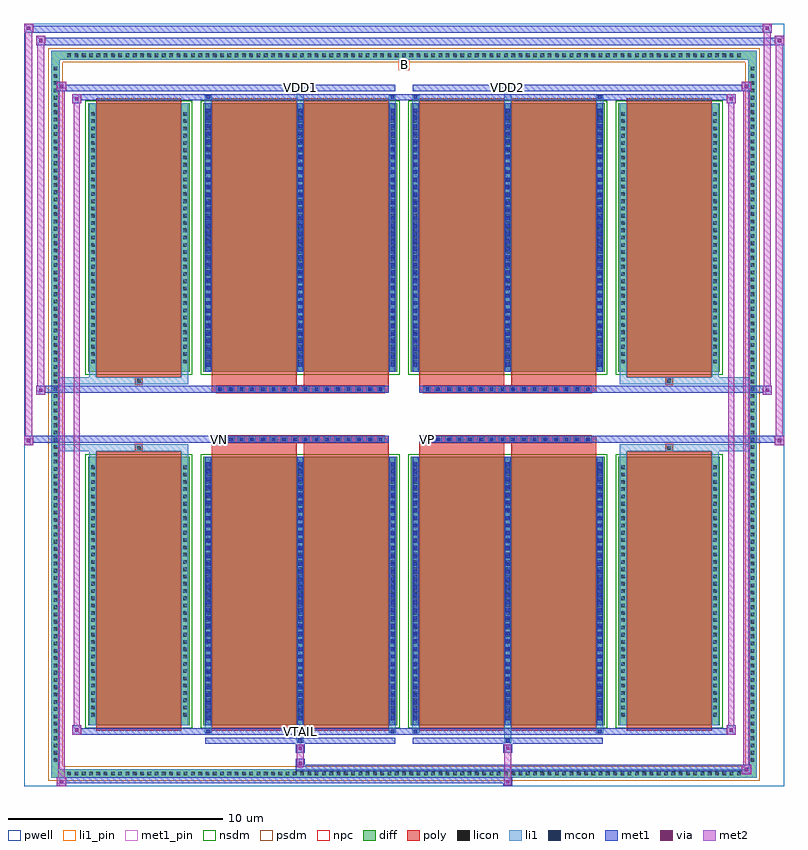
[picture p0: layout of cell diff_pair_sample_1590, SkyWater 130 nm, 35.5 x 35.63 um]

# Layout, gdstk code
import gdstk
lib = gdstk.Library(unit=1e-6, precision=5e-09)
def R(c, l, rs):  # rectangles x0, y0, x1, y1
    for r in rs: c.add(gdstk.rectangle(r[:2], r[2:], *l))
def A(c, l, x, y, w, h, nx, ny, dx, dy):  # array of equal rectangles
    R(c, l, [(x+i*dx, y+j*dy, x+i*dx+w, y+j*dy+h) for i in range(nx) for j in range(ny)])
def P(c, l, *ps):  # polygons
    for p in ps: c.add(gdstk.Polygon(p, *l))
pwell = (64, 44)
diff = (65, 20)
poly = (66, 20)
licon = (66, 44)
li1_pin = (67, 16)
li1 = (67, 20)
mcon = (67, 44)
met1_pin = (68, 16)
met1 = (68, 20)
via = (68, 44)
met2 = (69, 20)
nsdm = (93, 44)
psdm = (94, 20)
npc = (95, 20)

diff_pair_sample_1590 = lib.new_cell('diff_pair_sample_1590')
R(diff_pair_sample_1590, pwell, [(-17.75,-17.38,17.75,18.25), (-15.07,-15.57,-0.01,-0.805), (0.01,-15.57,15.07,-0.805), (-15.07,0.805,-0.01,15.57), (0.01,0.805,15.07,15.57)])
A(diff_pair_sample_1590, diff, -15.845, -16.98, 0.41, 0.41, 93, 2, 0.34, 33.55)
A(diff_pair_sample_1590, diff, -16.48, -16.355, 0.41, 0.41, 1, 96, 0, 0.34)
A(diff_pair_sample_1590, diff, 16.07, -16.355, 0.41, 0.41, 1, 96, 0, 0.34)
R(diff_pair_sample_1590, diff, [(-15.845,-16.98,15.845,-16.57), (-16.48,-16.355,-16.07,16.355), (16.07,-16.355,16.48,16.355), (-14.76,-14.525,-10.01,-1.985), (-9.37,-14.525,-0.32,-1.985), (0.32,-14.525,9.37,-1.985), (10.01,-14.525,14.76,-1.985), (-14.76,1.985,-10.01,14.525), (-9.37,1.985,-0.32,14.525), (0.32,1.985,9.37,14.525), (10.01,1.985,14.76,14.525), (-15.845,16.57,15.845,16.98)])
P(diff_pair_sample_1590, diff, [(16.48,16.98),(-16.48,16.98),(-16.48,-16.57),(-16.07,-16.57),(-16.07,16.57),(16.07,16.57),(16.07,-16.57),(-16.07,-16.57),(-16.48,-16.57),(-16.48,-16.98),(16.48,-16.98)])
A(diff_pair_sample_1590, poly, -8.76, -1.335, 0.33, 0.33, 16, 2, 0.5, 2.34)
A(diff_pair_sample_1590, poly, 0.93, -1.335, 0.33, 0.33, 16, 2, 0.5, 2.34)
R(diff_pair_sample_1590, poly, [(-14.37,-14.775,-10.4,-1.735), (-8.98,-14.775,-5.01,-1.735), (-4.68,-14.775,-0.71,-1.735), (0.71,-14.775,4.68,-1.735), (5.01,-14.775,8.98,-1.735), (10.4,-14.775,14.37,-1.735), (-12.55,-1.735,-12.22,-1.405), (-12.55,-1.735,-12.22,-1.405), (-8.98,-1.735,-5.01,-1.335), (-4.68,-1.735,-0.71,-1.335), (0.71,-1.735,4.68,-1.335), (5.01,-1.735,8.98,-1.335), (12.22,-1.735,12.55,-1.405), (12.22,-1.735,12.55,-1.405), (-8.98,-1.335,-0.71,-1.005), (0.71,-1.335,8.98,-1.005), (-8.98,1.005,-0.71,1.335), (0.71,1.005,8.98,1.335), (-8.98,1.335,-5.01,1.735), (-4.68,1.335,-0.71,1.735), (0.71,1.335,4.68,1.735), (5.01,1.335,8.98,1.735), (-12.55,1.405,-12.22,1.735), (-12.55,1.405,-12.22,1.735), (12.22,1.405,12.55,1.735), (12.22,1.405,12.55,1.735), (-14.37,1.735,-10.4,14.775), (-8.98,1.735,-5.01,14.775), (-4.68,1.735,-0.71,14.775), (0.71,1.735,4.68,14.775), (5.01,1.735,8.98,14.775), (10.4,1.735,14.37,14.775)])
A(diff_pair_sample_1590, licon, -15.725, -16.86, 0.17, 0.17, 93, 2, 0.34, 33.55)
A(diff_pair_sample_1590, licon, -16.36, -16.235, 0.17, 0.17, 1, 96, 0, 0.34)
A(diff_pair_sample_1590, licon, 16.19, -16.235, 0.17, 0.17, 1, 96, 0, 0.34)
A(diff_pair_sample_1590, licon, -14.62, -14.12, 0.17, 0.17, 1, 35, 0, 0.34)
A(diff_pair_sample_1590, licon, -10.32, -14.12, 0.17, 0.17, 1, 35, 0, 0.34)
A(diff_pair_sample_1590, licon, -9.23, -14.12, 0.17, 0.17, 3, 35, 4.3, 0.34)
A(diff_pair_sample_1590, licon, 0.46, -14.12, 0.17, 0.17, 3, 35, 4.3, 0.34)
A(diff_pair_sample_1590, licon, 10.15, -14.12, 0.17, 0.17, 1, 35, 0, 0.34)
A(diff_pair_sample_1590, licon, 14.45, -14.12, 0.17, 0.17, 1, 35, 0, 0.34)
A(diff_pair_sample_1590, licon, -8.68, -1.255, 0.17, 0.17, 16, 2, 0.5, 2.34)
A(diff_pair_sample_1590, licon, 1.01, -1.255, 0.17, 0.17, 16, 2, 0.5, 2.34)
A(diff_pair_sample_1590, licon, -14.62, 2.39, 0.17, 0.17, 1, 35, 0, 0.34)
A(diff_pair_sample_1590, licon, -10.32, 2.39, 0.17, 0.17, 1, 35, 0, 0.34)
A(diff_pair_sample_1590, licon, -9.23, 2.39, 0.17, 0.17, 3, 35, 4.3, 0.34)
A(diff_pair_sample_1590, licon, 0.46, 2.39, 0.17, 0.17, 3, 35, 4.3, 0.34)
A(diff_pair_sample_1590, licon, 10.15, 2.39, 0.17, 0.17, 1, 35, 0, 0.34)
A(diff_pair_sample_1590, licon, 14.45, 2.39, 0.17, 0.17, 1, 35, 0, 0.34)
R(diff_pair_sample_1590, licon, [(-12.47,-1.655,-12.3,-1.485), (12.3,-1.655,12.47,-1.485), (-12.47,1.485,-12.3,1.655), (12.3,1.485,12.47,1.655)])
R(diff_pair_sample_1590, li1_pin, [(-0.25,16.07,0.25,16.57)])
A(diff_pair_sample_1590, li1, -15.805, -16.94, 0.33, 0.33, 93, 2, 0.34, 33.55)
A(diff_pair_sample_1590, li1, -16.44, -16.315, 0.33, 0.33, 1, 96, 0, 0.34)
A(diff_pair_sample_1590, li1, 16.11, -16.315, 0.33, 0.33, 1, 96, 0, 0.34)
A(diff_pair_sample_1590, li1, -9.31, -14.525, 0.33, 12.54, 3, 2, 4.3, 16.51)
A(diff_pair_sample_1590, li1, 0.38, -14.525, 0.33, 12.54, 3, 2, 4.3, 16.51)
A(diff_pair_sample_1590, li1, -9.23, -14.28, 0.17, 0.17, 3, 34, 4.3, 0.36)
A(diff_pair_sample_1590, li1, -9.23, -14.28, 0.17, 12.05, 3, 2, 4.3, 16.51)
A(diff_pair_sample_1590, li1, 0.46, -14.28, 0.17, 0.17, 3, 34, 4.3, 0.36)
A(diff_pair_sample_1590, li1, 0.46, -14.28, 0.17, 12.05, 3, 2, 4.3, 16.51)
A(diff_pair_sample_1590, li1, -14.7, -14.2, 0.33, 0.33, 1, 35, 0, 0.34)
A(diff_pair_sample_1590, li1, -10.4, -14.2, 0.33, 0.33, 1, 35, 0, 0.34)
A(diff_pair_sample_1590, li1, -9.31, -14.2, 0.33, 0.33, 3, 35, 4.3, 0.34)
A(diff_pair_sample_1590, li1, 0.38, -14.2, 0.33, 0.33, 3, 35, 4.3, 0.34)
A(diff_pair_sample_1590, li1, 10.07, -14.2, 0.33, 0.33, 1, 35, 0, 0.34)
A(diff_pair_sample_1590, li1, 14.37, -14.2, 0.33, 0.33, 1, 35, 0, 0.34)
A(diff_pair_sample_1590, li1, -8.76, -1.335, 0.33, 0.33, 16, 2, 0.5, 2.34)
A(diff_pair_sample_1590, li1, 0.93, -1.335, 0.33, 0.33, 16, 2, 0.5, 2.34)
A(diff_pair_sample_1590, li1, -9.23, 2.23, 0.17, 0.17, 3, 34, 4.3, 0.36)
A(diff_pair_sample_1590, li1, 0.46, 2.23, 0.17, 0.17, 3, 34, 4.3, 0.36)
A(diff_pair_sample_1590, li1, -14.7, 2.31, 0.33, 0.33, 1, 35, 0, 0.34)
A(diff_pair_sample_1590, li1, -10.4, 2.31, 0.33, 0.33, 1, 35, 0, 0.34)
A(diff_pair_sample_1590, li1, -9.31, 2.31, 0.33, 0.33, 3, 35, 4.3, 0.34)
A(diff_pair_sample_1590, li1, 0.38, 2.31, 0.33, 0.33, 3, 35, 4.3, 0.34)
A(diff_pair_sample_1590, li1, 10.07, 2.31, 0.33, 0.33, 1, 35, 0, 0.34)
A(diff_pair_sample_1590, li1, 14.37, 2.31, 0.33, 0.33, 1, 35, 0, 0.34)
R(diff_pair_sample_1590, li1, [(-16.48,-16.98,-16.07,-16.57), (-16.48,-16.98,-16.07,-16.57), (-16.07,-16.98,16.07,-16.57), (16.07,-16.98,16.48,-16.57), (16.07,-16.98,16.48,-16.57), (-16.48,-16.57,-16.07,16.57), (16.07,-16.57,16.48,16.57), (-5.01,-15.33,-4.68,-14.525), (-4.93,-15.33,-4.76,-15.16), (4.68,-15.33,5.01,-14.525), (4.76,-15.33,4.93,-15.16), (-9.31,-14.9,-8.98,-14.525), (-9.23,-14.9,-9.06,-14.73), (-0.71,-14.9,-0.38,-14.525), (-0.63,-14.9,-0.46,-14.73), (0.38,-14.9,0.71,-14.525), (0.46,-14.9,0.63,-14.73), (8.98,-14.9,9.31,-14.525), (9.06,-14.9,9.23,-14.73), (-14.7,-14.525,-14.37,-1.985), (-10.4,-14.525,-10.07,-1.985), (10.07,-14.525,10.4,-1.985), (14.37,-14.525,14.7,-1.985), (-14.7,-1.985,-14.37,-1.405), (-10.4,-1.985,-10.07,-1.405), (10.07,-1.985,10.4,-1.405), (14.37,-1.985,14.7,-1.405), (-16.48,-1.735,-12.55,-1.405), (-14.7,-1.735,-12.55,-1.405), (-12.55,-1.735,-12.22,-1.405), (-12.22,-1.735,-10.07,-1.405), (10.07,-1.735,12.22,-1.405), (12.22,-1.735,12.55,-1.405), (12.22,-1.735,16.48,-1.405), (12.55,-1.735,14.7,-1.405), (-16.48,1.405,-12.55,1.735), (-14.7,1.405,-12.55,1.735), (-14.7,1.405,-14.37,1.985), (-12.55,1.405,-12.22,1.735), (-12.22,1.405,-10.07,1.735), (-10.4,1.405,-10.07,1.985), (10.07,1.405,12.22,1.735), (10.07,1.405,10.4,1.985), (12.22,1.405,12.55,1.735), (12.22,1.405,16.48,1.735), (12.55,1.405,14.7,1.735), (14.37,1.405,14.7,1.985), (-14.7,1.985,-14.37,14.525), (-10.4,1.985,-10.07,14.525), (10.07,1.985,10.4,14.525), (14.37,1.985,14.7,14.525), (-9.31,14.525,-8.98,14.9), (-5.01,14.525,-4.68,15.33), (-0.71,14.525,-0.38,14.9), (0.38,14.525,0.71,14.9), (4.68,14.525,5.01,15.33), (8.98,14.525,9.31,14.9), (-9.23,14.73,-9.06,14.9), (-0.63,14.73,-0.46,14.9), (0.46,14.73,0.63,14.9), (9.06,14.73,9.23,14.9), (-4.93,15.16,-4.76,15.33), (4.76,15.16,4.93,15.33), (-16.48,16.57,-16.07,16.98), (-16.48,16.57,-16.07,16.98), (-16.07,16.57,16.07,16.98), (16.07,16.57,16.48,16.98), (16.07,16.57,16.48,16.98)])
A(diff_pair_sample_1590, mcon, -9.23, -14.28, 0.17, 0.17, 3, 34, 4.3, 0.36)
A(diff_pair_sample_1590, mcon, 0.46, -14.28, 0.17, 0.17, 3, 34, 4.3, 0.36)
A(diff_pair_sample_1590, mcon, -8.68, -1.255, 0.17, 0.17, 16, 2, 0.5, 2.34)
A(diff_pair_sample_1590, mcon, 1.01, -1.255, 0.17, 0.17, 16, 2, 0.5, 2.34)
A(diff_pair_sample_1590, mcon, -9.23, 2.23, 0.17, 0.17, 3, 34, 4.3, 0.36)
A(diff_pair_sample_1590, mcon, 0.46, 2.23, 0.17, 0.17, 3, 34, 4.3, 0.36)
R(diff_pair_sample_1590, mcon, [(-4.93,-15.33,-4.76,-15.16), (4.76,-15.33,4.93,-15.16), (-9.23,-14.9,-9.06,-14.73), (-0.63,-14.9,-0.46,-14.73), (0.46,-14.9,0.63,-14.73), (9.06,-14.9,9.23,-14.73), (-9.23,14.73,-9.06,14.9), (-0.63,14.73,-0.46,14.9), (0.46,14.73,0.63,14.9), (9.06,14.73,9.23,14.9), (-4.93,15.16,-4.76,15.33), (4.76,15.16,4.93,15.33)])
R(diff_pair_sample_1590, met1_pin, [(-4.98,-14.94,-4.71,-14.67), (-8.73,-1.295,-8.46,-1.025), (0.96,-1.295,1.23,-1.025), (-4.98,15.12,-4.71,15.39), (4.71,15.12,4.98,15.39)])
A(diff_pair_sample_1590, met1, -9.29, -14.525, 0.29, 12.54, 3, 2, 4.3, 16.51)
A(diff_pair_sample_1590, met1, 0.4, -14.525, 0.29, 12.54, 3, 2, 4.3, 16.51)
A(diff_pair_sample_1590, met1, -9.29, -14.34, 0.29, 0.29, 3, 34, 4.3, 0.36)
A(diff_pair_sample_1590, met1, 0.4, -14.34, 0.29, 0.29, 3, 34, 4.3, 0.36)
A(diff_pair_sample_1590, met1, -8.74, -1.315, 0.29, 0.29, 16, 2, 0.5, 2.34)
A(diff_pair_sample_1590, met1, 0.95, -1.315, 0.29, 0.29, 16, 2, 0.5, 2.34)
A(diff_pair_sample_1590, met1, -9.29, 2.17, 0.29, 0.29, 3, 34, 4.3, 0.36)
A(diff_pair_sample_1590, met1, 0.4, 2.17, 0.29, 0.29, 3, 34, 4.3, 0.36)
R(diff_pair_sample_1590, met1, [(-16.21,-17.38,-15.78,-16.95), (4.63,-17.38,5.06,-16.95), (-16.21,-17.24,5.06,-16.95), (15.78,-16.81,16.21,-16.38), (-5.06,-16.67,16.21,-16.38), (-5.06,-16.53,-4.63,-16.1), (-5.06,-15.82,-4.63,-15.39), (4.63,-15.82,5.06,-15.39), (-9.29,-15.39,-0.4,-15.1), (-4.99,-15.39,-4.7,-15.1), (0.4,-15.39,9.29,-15.1), (4.7,-15.39,4.99,-15.1), (-15.5,-14.96,-15.07,-14.53), (-15.5,-14.96,-9.29,-14.67), (-9.29,-14.96,-9,-14.67), (-9.29,-14.96,-0.4,-14.67), (-0.69,-14.96,-0.4,-14.67), (-0.4,-14.96,0.4,-14.67), (0.4,-14.96,0.69,-14.67), (0.4,-14.96,9.29,-14.67), (9,-14.96,9.29,-14.67), (9.29,-14.96,15.5,-14.67), (15.07,-14.96,15.5,-14.53), (-17.75,-1.435,-17.32,-1.005), (17.32,-1.435,17.75,-1.005), (-17.75,-1.335,-0.71,-1.005), (-8.98,-1.335,-0.71,-1.005), (0.71,-1.335,8.98,-1.005), (0.71,-1.335,17.75,-1.005), (-17.18,0.905,-16.75,1.335), (16.75,0.905,17.18,1.335), (-17.18,1.005,-8.98,1.335), (-8.98,1.005,-0.71,1.335), (0.71,1.005,8.98,1.335), (8.98,1.005,17.18,1.335), (-15.5,14.53,-15.07,14.96), (15.07,14.53,15.5,14.96), (-15.5,14.67,-9.29,14.96), (-9.29,14.67,-9,14.96), (-9.29,14.67,-0.4,14.96), (-0.69,14.67,-0.4,14.96), (-0.4,14.67,0.4,14.96), (0.4,14.67,0.69,14.96), (0.4,14.67,9.29,14.96), (9,14.67,9.29,14.96), (9.29,14.67,15.5,14.96), (-16.21,15.1,-15.78,15.53), (-16.21,15.1,-9.29,15.39), (-9.29,15.1,-0.4,15.39), (-4.99,15.1,-4.7,15.39), (0.4,15.1,9.29,15.39), (4.7,15.1,4.99,15.39), (9.29,15.1,16.21,15.39), (15.78,15.1,16.21,15.53), (-17.18,17.25,-16.75,17.68), (-17.18,17.25,-15.07,17.58), (-15.07,17.25,15.07,17.58), (15.07,17.25,17.75,17.58), (17.32,17.25,17.75,17.68), (-17.75,17.82,-17.32,18.25), (-17.75,17.82,-15.07,18.15), (-15.07,17.82,15.07,18.15), (15.07,17.82,17.18,18.15), (16.75,17.82,17.18,18.25)])
R(diff_pair_sample_1590, via, [(-16.07,-17.24,-15.92,-17.09), (4.77,-17.24,4.92,-17.09), (15.92,-16.67,16.07,-16.52), (-4.92,-16.39,-4.77,-16.24), (-4.92,-15.68,-4.77,-15.53), (4.77,-15.68,4.92,-15.53), (-15.36,-14.82,-15.21,-14.67), (15.21,-14.82,15.36,-14.67), (-17.61,-1.295,-17.46,-1.145), (17.46,-1.295,17.61,-1.145), (-17.04,1.045,-16.89,1.195), (16.89,1.045,17.04,1.195), (-15.36,14.67,-15.21,14.82), (15.21,14.67,15.36,14.82), (-16.07,15.24,-15.92,15.39), (15.92,15.24,16.07,15.39), (-17.04,17.39,-16.89,17.54), (17.46,17.39,17.61,17.54), (-17.61,17.96,-17.46,18.11), (16.89,17.96,17.04,18.11)])
R(diff_pair_sample_1590, met2, [(-16.21,-17.38,-15.78,-16.95), (-16.14,-17.38,-15.85,15.53), (-15.85,-17.38,-15.78,-16.95), (-16.16,-17.33,-15.83,-17), (4.68,-17.33,5.01,-17), (4.68,-17,5.01,-15.77), (15.78,-16.81,16.21,-16.38), (15.85,-16.81,16.14,15.53), (16.14,-16.81,16.21,-16.38), (15.83,-16.76,16.16,-16.43), (-5.01,-16.48,-4.68,-16.15), (-5.01,-16.15,-4.68,-15.77), (-5.01,-15.77,-4.68,-15.44), (4.68,-15.77,5.01,-15.44), (-15.5,-14.96,-15.07,-14.53), (-15.43,-14.96,-15.14,14.96), (-15.14,-14.96,-15.07,-14.53), (15.07,-14.96,15.5,-14.53), (15.14,-14.96,15.43,14.96), (15.43,-14.96,15.5,-14.53), (-15.45,-14.91,-15.12,-14.58), (15.12,-14.91,15.45,-14.58), (-17.75,-1.435,-17.32,-1.005), (-17.7,-1.435,-17.37,18.25), (-17.37,-1.435,-17.32,-1.005), (17.32,-1.435,17.75,-1.005), (17.37,-1.435,17.7,17.68), (17.7,-1.435,17.75,-1.005), (-17.7,-1.385,-17.37,-1.055), (17.37,-1.385,17.7,-1.055), (-17.18,0.905,-16.75,1.335), (-17.13,0.905,-16.8,17.68), (-16.8,0.905,-16.75,1.335), (16.75,0.905,17.18,1.335), (16.8,0.905,17.13,18.25), (17.13,0.905,17.18,1.335), (-17.13,0.955,-16.8,1.285), (16.8,0.955,17.13,1.285), (-15.5,14.53,-15.07,14.96), (-15.14,14.53,-15.07,14.96), (15.07,14.53,15.5,14.96), (15.43,14.53,15.5,14.96), (-15.45,14.58,-15.12,14.91), (15.12,14.58,15.45,14.91), (-16.21,15.1,-15.78,15.53), (-15.85,15.1,-15.78,15.53), (15.78,15.1,16.21,15.53), (16.14,15.1,16.21,15.53), (-16.16,15.15,-15.83,15.48), (15.83,15.15,16.16,15.48), (-17.18,17.25,-16.75,17.68), (-16.8,17.25,-16.75,17.68), (17.32,17.25,17.75,17.68), (17.7,17.25,17.75,17.68), (-17.13,17.3,-16.8,17.63), (17.37,17.3,17.7,17.63), (-17.75,17.82,-17.32,18.25), (-17.37,17.82,-17.32,18.25), (16.75,17.82,17.18,18.25), (17.13,17.82,17.18,18.25), (-17.7,17.87,-17.37,18.2), (16.8,17.87,17.13,18.2)])
R(diff_pair_sample_1590, nsdm, [(-14.89,-14.655,-9.88,-1.855), (-9.5,-14.655,-0.19,-1.855), (0.19,-14.655,9.5,-1.855), (9.88,-14.655,14.89,-1.855), (-14.89,1.855,-9.88,14.655), (-9.5,1.855,-0.19,14.655), (0.19,1.855,9.5,14.655), (9.88,1.855,14.89,14.655)])
P(diff_pair_sample_1590, psdm, [(16.61,17.11),(-16.61,17.11),(-16.61,-16.44),(-15.94,-16.44),(-15.94,16.44),(15.94,16.44),(15.94,-16.44),(-15.94,-16.44),(-16.61,-16.44),(-16.61,-17.11),(16.61,-17.11)])
A(diff_pair_sample_1590, npc, -8.78, -1.355, 0.37, 0.37, 16, 2, 0.5, 2.34)
A(diff_pair_sample_1590, npc, 0.91, -1.355, 0.37, 0.37, 16, 2, 0.5, 2.34)
R(diff_pair_sample_1590, npc, [(-12.57,-1.755,-12.2,-1.385), (12.2,-1.755,12.57,-1.385), (-8.78,-1.355,-7.91,-0.985), (-8.78,-1.355,-7.91,-0.985), (-8.28,-1.355,-7.41,-0.985), (-8.28,-1.355,-7.41,-0.985), (-7.78,-1.355,-6.91,-0.985), (-7.78,-1.355,-6.91,-0.985), (-7.28,-1.355,-6.41,-0.985), (-7.28,-1.355,-6.41,-0.985), (-6.78,-1.355,-5.91,-0.985), (-6.78,-1.355,-5.91,-0.985), (-6.28,-1.355,-5.41,-0.985), (-6.28,-1.355,-5.41,-0.985), (-5.78,-1.355,-4.91,-0.985), (-5.78,-1.355,-4.91,-0.985), (-5.28,-1.355,-4.41,-0.985), (-5.28,-1.355,-4.41,-0.985), (-4.78,-1.355,-3.91,-0.985), (-4.78,-1.355,-3.91,-0.985), (-4.28,-1.355,-3.41,-0.985), (-4.28,-1.355,-3.41,-0.985), (-3.78,-1.355,-2.91,-0.985), (-3.78,-1.355,-2.91,-0.985), (-3.28,-1.355,-2.41,-0.985), (-3.28,-1.355,-2.41,-0.985), (-2.78,-1.355,-1.91,-0.985), (-2.78,-1.355,-1.91,-0.985), (-2.28,-1.355,-1.41,-0.985), (-2.28,-1.355,-1.41,-0.985), (-1.78,-1.355,-0.91,-0.985), (-1.78,-1.355,-0.91,-0.985), (0.91,-1.355,1.78,-0.985), (0.91,-1.355,1.78,-0.985), (1.41,-1.355,2.28,-0.985), (1.41,-1.355,2.28,-0.985), (1.91,-1.355,2.78,-0.985), (1.91,-1.355,2.78,-0.985), (2.41,-1.355,3.28,-0.985), (2.41,-1.355,3.28,-0.985), (2.91,-1.355,3.78,-0.985), (2.91,-1.355,3.78,-0.985), (3.41,-1.355,4.28,-0.985), (3.41,-1.355,4.28,-0.985), (3.91,-1.355,4.78,-0.985), (3.91,-1.355,4.78,-0.985), (4.41,-1.355,5.28,-0.985), (4.41,-1.355,5.28,-0.985), (4.91,-1.355,5.78,-0.985), (4.91,-1.355,5.78,-0.985), (5.41,-1.355,6.28,-0.985), (5.41,-1.355,6.28,-0.985), (5.91,-1.355,6.78,-0.985), (5.91,-1.355,6.78,-0.985), (6.41,-1.355,7.28,-0.985), (6.41,-1.355,7.28,-0.985), (6.91,-1.355,7.78,-0.985), (6.91,-1.355,7.78,-0.985), (7.41,-1.355,8.28,-0.985), (7.41,-1.355,8.28,-0.985), (7.91,-1.355,8.78,-0.985), (7.91,-1.355,8.78,-0.985), (-8.78,0.985,-7.91,1.355), (-8.78,0.985,-7.91,1.355), (-8.28,0.985,-7.41,1.355), (-8.28,0.985,-7.41,1.355), (-7.78,0.985,-6.91,1.355), (-7.78,0.985,-6.91,1.355), (-7.28,0.985,-6.41,1.355), (-7.28,0.985,-6.41,1.355), (-6.78,0.985,-5.91,1.355), (-6.78,0.985,-5.91,1.355), (-6.28,0.985,-5.41,1.355), (-6.28,0.985,-5.41,1.355), (-5.78,0.985,-4.91,1.355), (-5.78,0.985,-4.91,1.355), (-5.28,0.985,-4.41,1.355), (-5.28,0.985,-4.41,1.355), (-4.78,0.985,-3.91,1.355), (-4.78,0.985,-3.91,1.355), (-4.28,0.985,-3.41,1.355), (-4.28,0.985,-3.41,1.355), (-3.78,0.985,-2.91,1.355), (-3.78,0.985,-2.91,1.355), (-3.28,0.985,-2.41,1.355), (-3.28,0.985,-2.41,1.355), (-2.78,0.985,-1.91,1.355), (-2.78,0.985,-1.91,1.355), (-2.28,0.985,-1.41,1.355), (-2.28,0.985,-1.41,1.355), (-1.78,0.985,-0.91,1.355), (-1.78,0.985,-0.91,1.355), (0.91,0.985,1.78,1.355), (0.91,0.985,1.78,1.355), (1.41,0.985,2.28,1.355), (1.41,0.985,2.28,1.355), (1.91,0.985,2.78,1.355), (1.91,0.985,2.78,1.355), (2.41,0.985,3.28,1.355), (2.41,0.985,3.28,1.355), (2.91,0.985,3.78,1.355), (2.91,0.985,3.78,1.355), (3.41,0.985,4.28,1.355), (3.41,0.985,4.28,1.355), (3.91,0.985,4.78,1.355), (3.91,0.985,4.78,1.355), (4.41,0.985,5.28,1.355), (4.41,0.985,5.28,1.355), (4.91,0.985,5.78,1.355), (4.91,0.985,5.78,1.355), (5.41,0.985,6.28,1.355), (5.41,0.985,6.28,1.355), (5.91,0.985,6.78,1.355), (5.91,0.985,6.78,1.355), (6.41,0.985,7.28,1.355), (6.41,0.985,7.28,1.355), (6.91,0.985,7.78,1.355), (6.91,0.985,7.78,1.355), (7.41,0.985,8.28,1.355), (7.41,0.985,8.28,1.355), (7.91,0.985,8.78,1.355), (7.91,0.985,8.78,1.355), (-12.57,1.385,-12.2,1.755), (12.2,1.385,12.57,1.755)])
diff_pair_sample_1590.add(gdstk.Label('VTAIL', (-4.845,-14.805), layer=68, texttype=5))
diff_pair_sample_1590.add(gdstk.Label('VN', (-8.595,-1.16), layer=68, texttype=5))
diff_pair_sample_1590.add(gdstk.Label('VP', (1.095,-1.16), layer=68, texttype=5))
diff_pair_sample_1590.add(gdstk.Label('B', (0,16.32), layer=67, texttype=5))
diff_pair_sample_1590.add(gdstk.Label('VDD2', (4.845,15.255), layer=68, texttype=5))
diff_pair_sample_1590.add(gdstk.Label('VDD1', (-4.845,15.255), layer=68, texttype=5))

lib.write_gds('diff_pair_sample_1590.gds')
